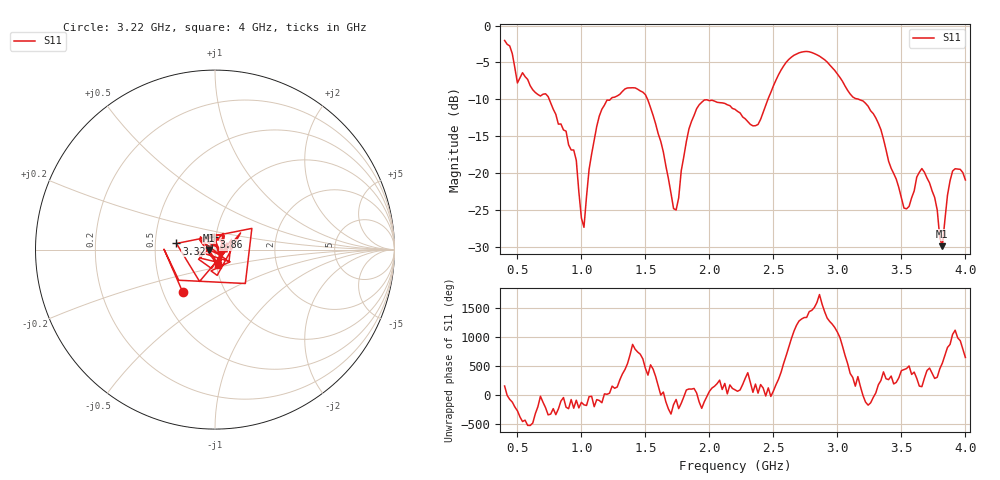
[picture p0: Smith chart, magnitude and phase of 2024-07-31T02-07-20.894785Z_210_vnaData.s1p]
!Created with skrf (http://scikit-rf.org).
# Hz S RI R 50.0
!freq ReS11 ImS11
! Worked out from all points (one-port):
!   181 points, 400 MHz to 4 GHz, reference 50 ohm
!   lowest |S11| = -29.9 dB at 3.82 GHz (marker M1), VSWR 1.07, Z = 46.9 - j0.188 ohm
!   |S11| at or under -10 dB: 748.9 MHz to 1.226 GHz (477.6 MHz wide, 48.4 % of centre); 1.517 GHz to 2.457 GHz (940.4 MHz wide, 47.3 % of centre); 3.168 GHz to end of sweep
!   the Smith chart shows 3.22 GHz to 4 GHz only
!   S11 on the Smith chart (normalised r, x): 3.22 GHz: 0.63, -0.33; 3.32 GHz: 0.64, +0.05; 3.86 GHz: 0.98, +0.14; 4 GHz: 1.02, -0.18
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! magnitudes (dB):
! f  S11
! 400 MHz  -2.0
! 500 MHz  -7.8
! 720 MHz  -9.2
! 860 MHz  -14.1
! 960 MHz  -18.3
! 1.02 GHz  -27.3
! 1.06 GHz  -19.5
! 1.14 GHz  -12.2
! 1.3 GHz  -9.3
! 1.5 GHz  -9.4
! 1.72 GHz  -24.8
! 1.76 GHz  -23.3
! 1.82 GHz  -15.7
! 1.9 GHz  -11.3
! 2.2 GHz  -11.3
! 2.38 GHz  -13.4
! 2.66 GHz  -4.0
! 2.86 GHz  -4.1
! 3.1 GHz  -9.3
! 3.22 GHz  -10.5
! 3.32 GHz  -13.2
! 3.56 GHz  -24.5
! 3.66 GHz  -19.4
! 3.76 GHz  -23.3
! 3.82 GHz  -29.9
! 3.86 GHz  -23.0
! 3.92 GHz  -19.4
! 4 GHz  -20.9
